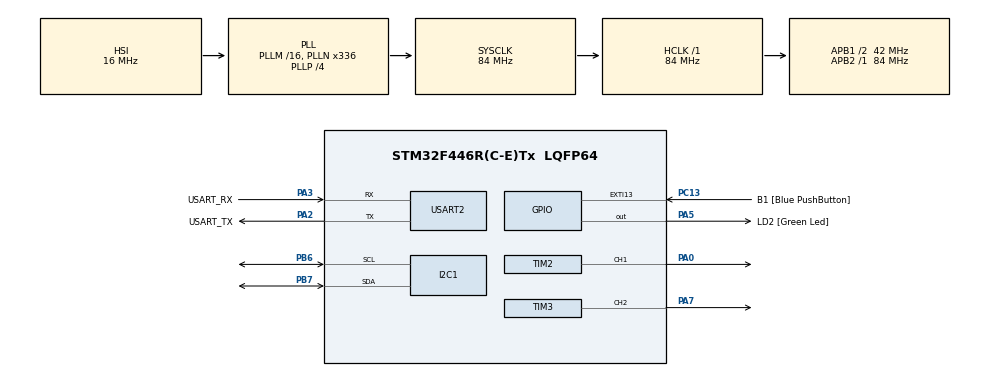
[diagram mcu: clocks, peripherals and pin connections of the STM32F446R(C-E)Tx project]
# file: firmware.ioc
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Dma.Request0=USART2_RX
Dma.Request1=USART2_TX
Dma.USART2_RX.0.Direction=DMA_PERIPH_TO_MEMORY
Dma.USART2_RX.0.FIFOMode=DMA_FIFOMODE_DISABLE
Dma.USART2_RX.0.Instance=DMA1_Stream5
Dma.USART2_RX.0.MemDataAlignment=DMA_MDATAALIGN_BYTE
Dma.USART2_RX.0.MemInc=DMA_MINC_ENABLE
Dma.USART2_RX.0.Mode=DMA_CIRCULAR
Dma.USART2_RX.0.PeriphDataAlignment=DMA_PDATAALIGN_BYTE
Dma.USART2_RX.0.PeriphInc=DMA_PINC_DISABLE
Dma.USART2_RX.0.Priority=DMA_PRIORITY_LOW
Dma.USART2_TX.1.Direction=DMA_MEMORY_TO_PERIPH
Dma.USART2_TX.1.FIFOMode=DMA_FIFOMODE_DISABLE
Dma.USART2_TX.1.Instance=DMA1_Stream6
Dma.USART2_TX.1.MemDataAlignment=DMA_MDATAALIGN_BYTE
Dma.USART2_TX.1.MemInc=DMA_MINC_ENABLE
Dma.USART2_TX.1.Mode=DMA_NORMAL
Dma.USART2_TX.1.PeriphDataAlignment=DMA_PDATAALIGN_BYTE
Dma.USART2_TX.1.PeriphInc=DMA_PINC_DISABLE
Dma.USART2_TX.1.Priority=DMA_PRIORITY_LOW
Mcu.Family=STM32F4
Mcu.Name=STM32F446R(C-E)Tx
Mcu.Package=LQFP64
NVIC.DMA1_Stream5_IRQn=true\:0\:0\:false\:false\:true\:false\:true\:true
NVIC.DMA1_Stream6_IRQn=true\:0\:0\:false\:false\:true\:false\:true\:true
NVIC.PriorityGroup=NVIC_PRIORITYGROUP_0
PA0-WKUP.Signal=S_TIM2_CH1_ETR
PA13.GPIO_Label=TMS
PA13.Mode=Serial_Wire
PA13.Signal=SYS_JTMS-SWDIO
PA14.GPIO_Label=TCK
PA14.Mode=Serial_Wire
PA14.Signal=SYS_JTCK-SWCLK
PA2.GPIO_Label=USART_TX
PA2.Mode=Asynchronous
PA2.Signal=USART2_TX
PA3.GPIO_Label=USART_RX
PA3.Mode=Asynchronous
PA3.Signal=USART2_RX
PA5.GPIO_Label=LD2 [Green Led]
PA5.Signal=GPIO_Output
PA7.Signal=S_TIM3_CH2
PB3.GPIO_Label=SWO
PB3.Signal=SYS_JTDO-SWO
PB6.Mode=I2C
PB6.Signal=I2C1_SCL
PB7.Mode=I2C
PB7.Signal=I2C1_SDA
PC13.GPIO_Label=B1 [Blue PushButton]
PC13.GPIO_ModeDefaultEXTI=GPIO_MODE_IT_FALLING
PC13.Signal=GPXTI13
PC14-OSC32_IN.Mode=LSE-External-Oscillator
PC14-OSC32_IN.Signal=RCC_OSC32_IN
PC15-OSC32_OUT.Mode=LSE-External-Oscillator
PC15-OSC32_OUT.Signal=RCC_OSC32_OUT
PH0-OSC_IN.Mode=HSE-External-Oscillator
PH0-OSC_IN.Signal=RCC_OSC_IN
PH1-OSC_OUT.Mode=HSE-External-Oscillator
PH1-OSC_OUT.Signal=RCC_OSC_OUT
ProjectManager.HeapSize=0x200
ProjectManager.StackSize=0x400
ProjectManager.TargetToolchain=STM32CubeIDE
RCC.48MHZClocksFreq_Value=84000000
RCC.AHBFreq_Value=84000000
RCC.APB1CLKDivider=RCC_HCLK_DIV2
RCC.APB1Freq_Value=42000000
RCC.APB1TimFreq_Value=84000000
RCC.APB2Freq_Value=84000000
RCC.APB2TimFreq_Value=84000000
RCC.CortexFreq_Value=84000000
RCC.FLatency-AdvancedSettings=FLASH_LATENCY_2
RCC.HCLKFreq_Value=84000000
RCC.HSE_VALUE=8000000
RCC.HSI_VALUE=16000000
RCC.PLLN=336
RCC.PLLP=RCC_PLLP_DIV4
RCC.SYSCLKFreq_VALUE=84000000
RCC.SYSCLKSource=RCC_SYSCLKSOURCE_PLLCLK
RCC.USBFreq_Value=168000000
RCC.VCOOutputFreq_Value=336000000
SH.S_TIM2_CH1_ETR.0=TIM2_CH1,PWM Generation1 CH1
SH.S_TIM3_CH2.0=TIM3_CH2,PWM Generation2 CH2
TIM2.Channel-PWM\ Generation1\ CH1=TIM_CHANNEL_1
TIM2.Period=19999
TIM2.Prescaler=179
TIM2.Pulse-PWM\ Generation1\ CH1=1500
TIM3.Channel-PWM\ Generation2\ CH2=TIM_CHANNEL_2
TIM3.Period=19999
TIM3.Prescaler=179
TIM3.Pulse-PWM\ Generation2\ CH2=1500
USART2.VirtualMode=VM_ASYNC
VP_TIM2_VS_ClockSourceINT.Mode=Internal
VP_TIM3_VS_ClockSourceINT.Mode=Internal
board=NUCLEO-F446RE

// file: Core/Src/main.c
/* USER CODE BEGIN Header */
/**
  ******************************************************************************
  * @file           : main.c
  * @brief          : Main program body
  ******************************************************************************
  * @attention
  *
  * Copyright (c) 2026 STMicroelectronics.
  * All rights reserved.
  *
  * This software is licensed under terms that can be found in the LICENSE file
  * in the root directory of this software component.
  * If no LICENSE file comes with this software, it is provided AS-IS.
  *
  ******************************************************************************
  */
/* USER CODE END Header */
#include "main.h"

/* USER CODE BEGIN Includes */
#include "uart_handler.h"
#include "protocol.h"
#include "servo_control.h"
#include "pid_controller.h"
#include "imu_driver.h"
#include "sensor_fusion.h"
#include <string.h>
/* USER CODE END Includes */

/* USER CODE BEGIN PD */
#define SERVO_SHOULDER_PWM_MIN_US 1000U
#define SERVO_SHOULDER_PWM_MAX_US 2000U
#define SERVO_ELBOW_PWM_MIN_US 1000U
#define SERVO_ELBOW_PWM_MAX_US 2000U

/* USER CODE END PD */

I2C_HandleTypeDef hi2c1;

TIM_HandleTypeDef htim2;
TIM_HandleTypeDef htim3;

UART_HandleTypeDef huart2;
DMA_HandleTypeDef hdma_usart2_rx;
DMA_HandleTypeDef hdma_usart2_tx;

/* USER CODE BEGIN PV */
UART_Handle_t uart_handle;
Servo_t servo_shoulder;
Servo_t servo_elbow;
PID_Controller_t pid_shoulder;
PID_Controller_t pid_elbow;
SensorFusion_t imu_fusion;

volatile bool control_loop_flag = false;
bool imu_available = false;

// Watchdog variables
volatile uint32_t last_command_time = 0;
volatile bool watchdog_triggered = false;
/* USER CODE END PV */

void SystemClock_Config(void);
static void MX_GPIO_Init(void);
static void MX_DMA_Init(void);
static void MX_USART2_UART_Init(void);
static void MX_I2C1_Init(void);
static void MX_TIM2_Init(void);
static void MX_TIM3_Init(void);
/* USER CODE BEGIN PFP */
void Process_UART_Commands(void);
void Handle_Command(Packet_t *packet);
void Run_Control_Loop(void);
void Send_Telemetry_Angles(void);
void Send_Telemetry_Full(void);
void Send_ACK(void);
void Send_Error_Telemetry(void);
void Check_Watchdog(void);
/* USER CODE END PFP */

int main(void)
{

  /* MCU Configuration--------------------------------------------------------*/

  /* Reset of all peripherals, Initializes the Flash interface and the Systick. */
  HAL_Init();

  /* Configure the system clock */
  SystemClock_Config();

  /* Initialize all configured peripherals */
  MX_GPIO_Init();
  MX_DMA_Init();
  MX_USART2_UART_Init();
  MX_I2C1_Init();
  MX_TIM2_Init();
  MX_TIM3_Init();
  /* USER CODE BEGIN 2 */
  // Startup blink - shows firmware is running
  for (int i = 0; i < 3; i++) {
    HAL_GPIO_WritePin(GPIOA, GPIO_PIN_5, GPIO_PIN_SET);
    HAL_Delay(100);
    HAL_GPIO_WritePin(GPIOA, GPIO_PIN_5, GPIO_PIN_RESET);
    HAL_Delay(100);
  }

  // Initialize UART
  UART_Init(&uart_handle, &huart2);

  // Initialize PID controllers (50Hz = 0.02s)
  PID_Init(&pid_shoulder, 2.0f, 0.05f, 0.2f, 0.02f);
  PID_Init(&pid_elbow, 2.0f, 0.05f, 0.2f, 0.02f);

  // Initialize servos (starts PWM)
  // Both servos on TIM2: PA0=CH1 (shoulder), PA1=CH2 (elbow)
  Servo_Init(&servo_shoulder, &htim2, TIM_CHANNEL_1);
  Servo_Init(&servo_elbow, &htim2, TIM_CHANNEL_2);

  Servo_SetPulseRange(&servo_shoulder, SERVO_SHOULDER_PWM_MIN_US, SERVO_SHOULDER_PWM_MAX_US);
  Servo_SetPulseRange(&servo_elbow, SERVO_ELBOW_PWM_MIN_US, SERVO_ELBOW_PWM_MAX_US);

  // Initialize IMU (non-blocking, just sets flag)
  imu_available = IMU_Init(&hi2c1);

  // Initialize sensor fusion (alpha=0.98, dt=0.02s for 50Hz)
  SensorFusion_Init(&imu_fusion, 0.98f, 0.02f);

  // Initialize watchdog timer
  last_command_time = HAL_GetTick();

  // Set initial targets
  PID_SetSetpoint(&pid_shoulder, 0.0f);
  PID_SetSetpoint(&pid_elbow, 0.0f);

  // LED on = ready
  HAL_GPIO_WritePin(GPIOA, GPIO_PIN_5, GPIO_PIN_SET);
  /* USER CODE END 2 */

  /* Infinite loop */
  while (1)
  {

    /* USER CODE BEGIN 3 */
    Process_UART_Commands();
    Check_Watchdog();
  }
  /* USER CODE END 3 */
}

void SystemClock_Config(void)
{
  RCC_OscInitTypeDef RCC_OscInitStruct = {0};
  RCC_ClkInitTypeDef RCC_ClkInitStruct = {0};

  /** Configure the main internal regulator output voltage
  */
  __HAL_RCC_PWR_CLK_ENABLE();
  __HAL_PWR_VOLTAGESCALING_CONFIG(PWR_REGULATOR_VOLTAGE_SCALE3);

  /** Initializes the RCC Oscillators according to the specified parameters
  * in the RCC_OscInitTypeDef structure.
  */
  RCC_OscInitStruct.OscillatorType = RCC_OSCILLATORTYPE_HSI;
  RCC_OscInitStruct.HSIState = RCC_HSI_ON;
  RCC_OscInitStruct.HSICalibrationValue = RCC_HSICALIBRATION_DEFAULT;
  RCC_OscInitStruct.PLL.PLLState = RCC_PLL_ON;
  RCC_OscInitStruct.PLL.PLLSource = RCC_PLLSOURCE_HSI;
  RCC_OscInitStruct.PLL.PLLM = 16;
  RCC_OscInitStruct.PLL.PLLN = 336;
  RCC_OscInitStruct.PLL.PLLP = RCC_PLLP_DIV4;
  RCC_OscInitStruct.PLL.PLLQ = 2;
  RCC_OscInitStruct.PLL.PLLR = 2;
  if (HAL_RCC_OscConfig(&RCC_OscInitStruct) != HAL_OK)
  {
    Error_Handler();
  }

  /** Initializes the CPU, AHB and APB buses clocks
  */
  RCC_ClkInitStruct.ClockType = RCC_CLOCKTYPE_HCLK|RCC_CLOCKTYPE_SYSCLK
                              |RCC_CLOCKTYPE_PCLK1|RCC_CLOCKTYPE_PCLK2;
  RCC_ClkInitStruct.SYSCLKSource = RCC_SYSCLKSOURCE_PLLCLK;
  RCC_ClkInitStruct.AHBCLKDivider = RCC_SYSCLK_DIV1;
  RCC_ClkInitStruct.APB1CLKDivider = RCC_HCLK_DIV2;
  RCC_ClkInitStruct.APB2CLKDivider = RCC_HCLK_DIV1;

  if (HAL_RCC_ClockConfig(&RCC_ClkInitStruct, FLASH_LATENCY_2) != HAL_OK)
  {
    Error_Handler();
  }
}

static void MX_I2C1_Init(void)
{

  hi2c1.Instance = I2C1;
  hi2c1.Init.ClockSpeed = 100000;
  hi2c1.Init.DutyCycle = I2C_DUTYCYCLE_2;
  hi2c1.Init.OwnAddress1 = 0;
  hi2c1.Init.AddressingMode = I2C_ADDRESSINGMODE_7BIT;
  hi2c1.Init.DualAddressMode = I2C_DUALADDRESS_DISABLE;
  hi2c1.Init.OwnAddress2 = 0;
  hi2c1.Init.GeneralCallMode = I2C_GENERALCALL_DISABLE;
  hi2c1.Init.NoStretchMode = I2C_NOSTRETCH_DISABLE;
  if (HAL_I2C_Init(&hi2c1) != HAL_OK)
  {
    Error_Handler();
  }

}

static void MX_TIM2_Init(void)
{

  TIM_ClockConfigTypeDef sClockSourceConfig = {0};
  TIM_MasterConfigTypeDef sMasterConfig = {0};
  TIM_OC_InitTypeDef sConfigOC = {0};

  htim2.Instance = TIM2;
  htim2.Init.Prescaler = 179;
  htim2.Init.CounterMode = TIM_COUNTERMODE_UP;
  htim2.Init.Period = 19999;
  htim2.Init.ClockDivision = TIM_CLOCKDIVISION_DIV1;
  htim2.Init.AutoReloadPreload = TIM_AUTORELOAD_PRELOAD_DISABLE;
  if (HAL_TIM_Base_Init(&htim2) != HAL_OK)
  {
    Error_Handler();
  }
  sClockSourceConfig.ClockSource = TIM_CLOCKSOURCE_INTERNAL;
  if (HAL_TIM_ConfigClockSource(&htim2, &sClockSourceConfig) != HAL_OK)
  {
    Error_Handler();
  }
  if (HAL_TIM_PWM_Init(&htim2) != HAL_OK)
  {
    Error_Handler();
  }
  sMasterConfig.MasterOutputTrigger = TIM_TRGO_RESET;
  sMasterConfig.MasterSlaveMode = TIM_MASTERSLAVEMODE_DISABLE;
  if (HAL_TIMEx_MasterConfigSynchronization(&htim2, &sMasterConfig) != HAL_OK)
  {
    Error_Handler();
  }
  sConfigOC.OCMode = TIM_OCMODE_PWM1;
  sConfigOC.Pulse = 1500;
  sConfigOC.OCPolarity = TIM_OCPOLARITY_HIGH;
  sConfigOC.OCFastMode = TIM_OCFAST_DISABLE;
  if (HAL_TIM_PWM_ConfigChannel(&htim2, &sConfigOC, TIM_CHANNEL_1) != HAL_OK)
  {
    Error_Handler();
  }
  if (HAL_TIM_PWM_ConfigChannel(&htim2, &sConfigOC, TIM_CHANNEL_2) != HAL_OK)
  {
    Error_Handler();
  }
  HAL_TIM_MspPostInit(&htim2);

}

static void MX_TIM3_Init(void)
{

  TIM_ClockConfigTypeDef sClockSourceConfig = {0};
  TIM_MasterConfigTypeDef sMasterConfig = {0};
  TIM_OC_InitTypeDef sConfigOC = {0};

  htim3.Instance = TIM3;
  htim3.Init.Prescaler = 179;
  htim3.Init.CounterMode = TIM_COUNTERMODE_UP;
  htim3.Init.Period = 19999;
  htim3.Init.ClockDivision = TIM_CLOCKDIVISION_DIV1;
  htim3.Init.AutoReloadPreload = TIM_AUTORELOAD_PRELOAD_DISABLE;
  if (HAL_TIM_Base_Init(&htim3) != HAL_OK)
  {
    Error_Handler();
  }
  sClockSourceConfig.ClockSource = TIM_CLOCKSOURCE_INTERNAL;
  if (HAL_TIM_ConfigClockSource(&htim3, &sClockSourceConfig) != HAL_OK)
  {
    Error_Handler();
  }
  if (HAL_TIM_PWM_Init(&htim3) != HAL_OK)
  {
    Error_Handler();
  }
  sMasterConfig.MasterOutputTrigger = TIM_TRGO_RESET;
  sMasterConfig.MasterSlaveMode = TIM_MASTERSLAVEMODE_DISABLE;
  if (HAL_TIMEx_MasterConfigSynchronization(&htim3, &sMasterConfig) != HAL_OK)
  {
    Error_Handler();
  }
  sConfigOC.OCMode = TIM_OCMODE_PWM1;
  sConfigOC.Pulse = 1500;
  sConfigOC.OCPolarity = TIM_OCPOLARITY_HIGH;
  sConfigOC.OCFastMode = TIM_OCFAST_DISABLE;
  if (HAL_TIM_PWM_ConfigChannel(&htim3, &sConfigOC, TIM_CHANNEL_2) != HAL_OK)
  {
    Error_Handler();
  }
  HAL_TIM_MspPostInit(&htim3);

}

static void MX_USART2_UART_Init(void)
{

  huart2.Instance = USART2;
  huart2.Init.BaudRate = 115200;
  huart2.Init.WordLength = UART_WORDLENGTH_8B;
  huart2.Init.StopBits = UART_STOPBITS_1;
  huart2.Init.Parity = UART_PARITY_NONE;
  huart2.Init.Mode = UART_MODE_TX_RX;
  huart2.Init.HwFlowCtl = UART_HWCONTROL_NONE;
  huart2.Init.OverSampling = UART_OVERSAMPLING_16;
  if (HAL_UART_Init(&huart2) != HAL_OK)
  {
    Error_Handler();
  }

}

static void MX_DMA_Init(void)
{

  /* DMA controller clock enable */
  __HAL_RCC_DMA1_CLK_ENABLE();

  /* DMA interrupt init */
  /* DMA1_Stream5_IRQn interrupt configuration */
  HAL_NVIC_SetPriority(DMA1_Stream5_IRQn, 0, 0);
  HAL_NVIC_EnableIRQ(DMA1_Stream5_IRQn);
  /* DMA1_Stream6_IRQn interrupt configuration */
  HAL_NVIC_SetPriority(DMA1_Stream6_IRQn, 0, 0);
  HAL_NVIC_EnableIRQ(DMA1_Stream6_IRQn);

}

static void MX_GPIO_Init(void)
{
  GPIO_InitTypeDef GPIO_InitStruct = {0};

  /* GPIO Ports Clock Enable */
  __HAL_RCC_GPIOC_CLK_ENABLE();
  __HAL_RCC_GPIOH_CLK_ENABLE();
  __HAL_RCC_GPIOA_CLK_ENABLE();
  __HAL_RCC_GPIOB_CLK_ENABLE();

  /*Configure GPIO pin Output Level */
  HAL_GPIO_WritePin(LD2_GPIO_Port, LD2_Pin, GPIO_PIN_RESET);

  /*Configure GPIO pin : B1_Pin */
  GPIO_InitStruct.Pin = B1_Pin;
  GPIO_InitStruct.Mode = GPIO_MODE_IT_FALLING;
  GPIO_InitStruct.Pull = GPIO_NOPULL;
  HAL_GPIO_Init(B1_GPIO_Port, &GPIO_InitStruct);

  /*Configure GPIO pin : LD2_Pin */
  GPIO_InitStruct.Pin = LD2_Pin;
  GPIO_InitStruct.Mode = GPIO_MODE_OUTPUT_PP;
  GPIO_InitStruct.Pull = GPIO_NOPULL;
  GPIO_InitStruct.Speed = GPIO_SPEED_FREQ_LOW;
  HAL_GPIO_Init(LD2_GPIO_Port, &GPIO_InitStruct);

}

/* USER CODE BEGIN 4 */
void Process_UART_Commands(void) {
    static uint8_t packet_buffer[128];
    static uint16_t buffer_pos = 0;

    while (UART_BytesAvailable(&uart_handle)) {
        uint8_t byte = UART_ReadByte(&uart_handle);

        if (buffer_pos == 0 && byte != PACKET_HEADER) {
            continue;
        }

        packet_buffer[buffer_pos++] = byte;

        if (buffer_pos >= 3) {
            uint8_t expected_len = 4 + packet_buffer[2];
            if (buffer_pos >= expected_len) {
                Packet_t packet;
                if (Protocol_DecodePacket(packet_buffer, buffer_pos, &packet)) {
                    Handle_Command(&packet);
                    HAL_GPIO_TogglePin(GPIOA, GPIO_PIN_5);
                } else {
                    Send_Error_Telemetry();
                }
                buffer_pos = 0;
            }
        }

        if (buffer_pos >= sizeof(packet_buffer)) {
            buffer_pos = 0;
        }
    }
}

void Handle_Command(Packet_t *packet) {
    // Reset watchdog on any valid command
    last_command_time = HAL_GetTick();
    watchdog_triggered = false;
    HAL_GPIO_WritePin(LD2_GPIO_Port, LD2_Pin, GPIO_PIN_SET);  // LED on = active

    switch (packet->type) {
        case CMD_SET_JOINT_ANGLES: {
            if (packet->length == 8) {
                float shoulder, elbow;
                memcpy(&shoulder, &packet->data[0], 4);
                memcpy(&elbow, &packet->data[4], 4);
                // Directly set servo angles
                Servo_SetAngle(&servo_shoulder, shoulder);
                Servo_SetAngle(&servo_elbow, elbow);
                // Also update PID setpoints for future use
                PID_SetSetpoint(&pid_shoulder, shoulder);
                PID_SetSetpoint(&pid_elbow, elbow);
                Send_ACK();
            }
            break;
        }
        case CMD_GET_TELEMETRY: {
            Send_Telemetry_Full();
            break;
        }
        case CMD_SET_PID_GAINS: {
            if (packet->length == 24) {
                float kp1, ki1, kd1, kp2, ki2, kd2;
                memcpy(&kp1, &packet->data[0], 4);
                memcpy(&ki1, &packet->data[4], 4);
                memcpy(&kd1, &packet->data[8], 4);
                memcpy(&kp2, &packet->data[12], 4);
                memcpy(&ki2, &packet->data[16], 4);
                memcpy(&kd2, &packet->data[20], 4);
                PID_SetGains(&pid_shoulder, kp1, ki1, kd1);
                PID_SetGains(&pid_elbow, kp2, ki2, kd2);
                Send_ACK();
            }
            break;
        }
        default:
            Send_Error_Telemetry();
            break;
    }
}

void Check_Watchdog(void) {
    uint32_t now = HAL_GetTick();

    if (now - last_command_time > WATCHDOG_TIMEOUT_MS) {
        if (!watchdog_triggered) {
            // First trigger: move to safe position
            Servo_SetAngle(&servo_shoulder, SERVO_SAFE_POSITION);
            Servo_SetAngle(&servo_elbow, SERVO_SAFE_POSITION);
            watchdog_triggered = true;

            // Blink LED rapidly to indicate watchdog
            HAL_GPIO_WritePin(LD2_GPIO_Port, LD2_Pin, GPIO_PIN_RESET);
        }
    }
}

void Run_Control_Loop(void) {
    float current_shoulder = Servo_GetAngle(&servo_shoulder);
    float current_elbow = Servo_GetAngle(&servo_elbow);

    float output_shoulder = PID_Update(&pid_shoulder, current_shoulder);
    float output_elbow = PID_Update(&pid_elbow, current_elbow);

    Servo_SetAngle(&servo_shoulder, output_shoulder);
    Servo_SetAngle(&servo_elbow, output_elbow);

    static uint8_t telemetry_counter = 0;
    if (++telemetry_counter >= 10) {
        Send_Telemetry_Angles();
        telemetry_counter = 0;
    }
}

void Send_Telemetry_Angles(void) {
    Packet_t packet;
    packet.type = TEL_ANGLES_ONLY;
    packet.length = 8;

    float shoulder = Servo_GetAngle(&servo_shoulder);
    float elbow = Servo_GetAngle(&servo_elbow);
    memcpy(&packet.data[0], &shoulder, 4);
    memcpy(&packet.data[4], &elbow, 4);

    uint8_t output[128];
    uint16_t len = Protocol_EncodePacket(&packet, output);
    UART_SendPacket(&uart_handle, output, len);
}

void Send_Telemetry_Full(void) {
    Packet_t packet;
    packet.type = TEL_FULL;
    packet.length = 52;

    uint32_t timestamp = HAL_GetTick();
    memcpy(&packet.data[0], &timestamp, 4);

    float shoulder = 0.0f;
    float elbow = 0.0f;
    memcpy(&packet.data[4], &shoulder, 4);
    memcpy(&packet.data[8], &elbow, 4);

    float vel_shoulder = 0.0f;
    float vel_elbow = 0.0f;
    memcpy(&packet.data[12], &vel_shoulder, 4);
    memcpy(&packet.data[16], &vel_elbow, 4);

    IMU_Data_t imu_data;
    float roll = 0.0f;
    float pitch = 0.0f;
    if (imu_available && IMU_ReadData(&hi2c1, &imu_data)) {
        float accel_x = imu_data.accel_x / 16384.0f;
        float accel_y = imu_data.accel_y / 16384.0f;
        float accel_z = imu_data.accel_z / 16384.0f;
        memcpy(&packet.data[20], &accel_x, 4);
        memcpy(&packet.data[24], &accel_y, 4);
        memcpy(&packet.data[28], &accel_z, 4);

        float gyro_x = imu_data.gyro_x / 131.0f;
        float gyro_y = imu_data.gyro_y / 131.0f;
        float gyro_z = imu_data.gyro_z / 131.0f;
        memcpy(&packet.data[32], &gyro_x, 4);
        memcpy(&packet.data[36], &gyro_y, 4);
        memcpy(&packet.data[40], &gyro_z, 4);

        // Update sensor fusion with raw IMU data
        SensorFusion_Update(&imu_fusion,
                            imu_data.accel_x, imu_data.accel_y, imu_data.accel_z,
                            imu_data.gyro_x, imu_data.gyro_y);
        roll = SensorFusion_GetRoll(&imu_fusion);
        pitch = SensorFusion_GetPitch(&imu_fusion);
    } else {
        memset(&packet.data[20], 0, 24);
    }

    memcpy(&packet.data[44], &roll, 4);
    memcpy(&packet.data[48], &pitch, 4);

    uint8_t output[128];
    uint16_t len = Protocol_EncodePacket(&packet, output);
    UART_SendPacket(&uart_handle, output, len);
}

void Send_ACK(void) {
    Packet_t packet;
    packet.type = TEL_ACK;
    packet.length = 0;
    uint8_t output[128];
    uint16_t len = Protocol_EncodePacket(&packet, output);
    UART_SendPacket(&uart_handle, output, len);
}

void Send_Error_Telemetry(void) {
    Packet_t packet;
    packet.type = TEL_ERROR;
    packet.length = 0;
    uint8_t output[128];
    uint16_t len = Protocol_EncodePacket(&packet, output);
    UART_SendPacket(&uart_handle, output, len);
}
/* USER CODE END 4 */

void Error_Handler(void)
{
  __disable_irq();
  while (1)
  {
  }
}
